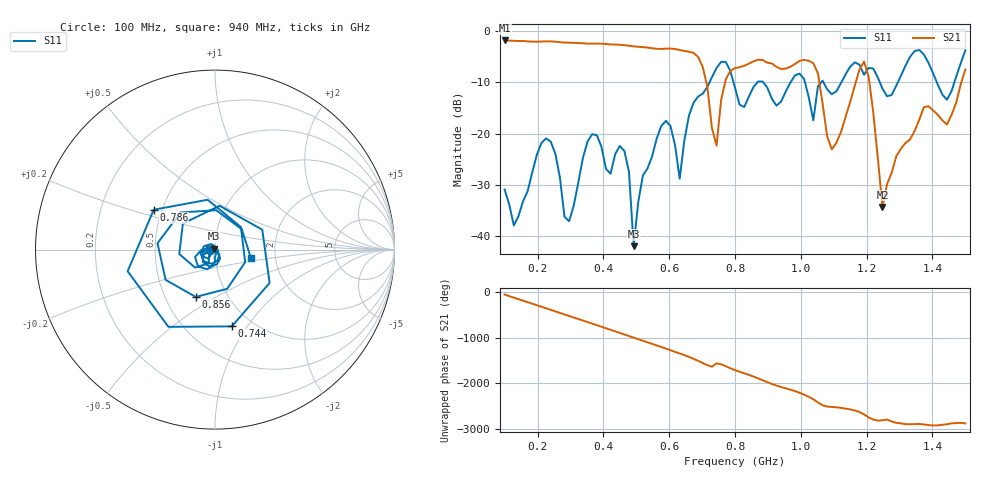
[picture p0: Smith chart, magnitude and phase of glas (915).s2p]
! NanoVNA-App
! Date: 2025-09-25 16:02:35
! Start: 100MHz Stop: 1,5GHz Points: 101
! S-Parameter data: F S11 S21 S12 S22
# Hz S RI R 50
!  Frequency  S11_Real  S11_Imag  S21_Real  S21_Imag  S12_Real  S12_Imag  S22_Real  S22_Imag
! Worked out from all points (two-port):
!   101 points, 100 MHz to 1.5 GHz, reference 50 ohm
!   highest |S21| = -1.80 dB at 100 MHz (marker M1); lowest = -34.3 dB at 1.248 GHz (marker M2)
!   |S21| within 3 dB of the highest: start of sweep to 684.3 MHz
!   lowest |S11| = -42.0 dB at 492 MHz (marker M3), VSWR 1.02, Z = 49.5 + j0.597 ohm
!   |S11| at or under -10 dB: start of sweep to 722.4 MHz; 795.5 MHz to 867.7 MHz (72.2 MHz wide, 8.68 % of centre); 886 MHz to 968.7 MHz (82.68 MHz wide, 8.91 % of centre) (the widest 3 of 7)
!   S12 and S22 are empty: the file has one direction only
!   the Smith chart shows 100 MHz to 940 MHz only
!   S11 on the Smith chart (normalised r, x): 100 MHz: 0.94, -0.01; 744 MHz: 0.80, -0.85; 786 MHz: 0.45, +0.24; 856 MHz: 0.71, -0.41; 940 MHz: 1.49, -0.15
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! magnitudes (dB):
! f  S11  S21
! 100 MHz  -30.9  -1.8
! 128 MHz  -37.9  -1.9
! 226 MHz  -20.9  -2.0
! 296 MHz  -37.1  -2.2
! 338 MHz  -24.7  -2.4
! 464 MHz  -23.4  -2.7
! 492 MHz  -42.0  -3.0
! 576 MHz  -18.5  -3.5
! 632 MHz  -28.8  -3.7
! 702 MHz  -12.2  -7.0
! 744 MHz  -7.2  -22.3
! 786 MHz  -7.8  -7.7
! 800 MHz  -11.0  -7.2
! 856 MHz  -10.9  -5.9
! 940 MHz  -13.7  -7.4
! 996 MHz  -8.3  -5.8
! 1.038 GHz  -17.4  -6.2
! 1.094 GHz  -12.3  -23.1
! 1.192 GHz  -8.5  -5.9
! 1.248 GHz  -11.2  -34.3
! 1.276 GHz  -12.4  -27.6
! 1.5 GHz  -3.7  -7.5
